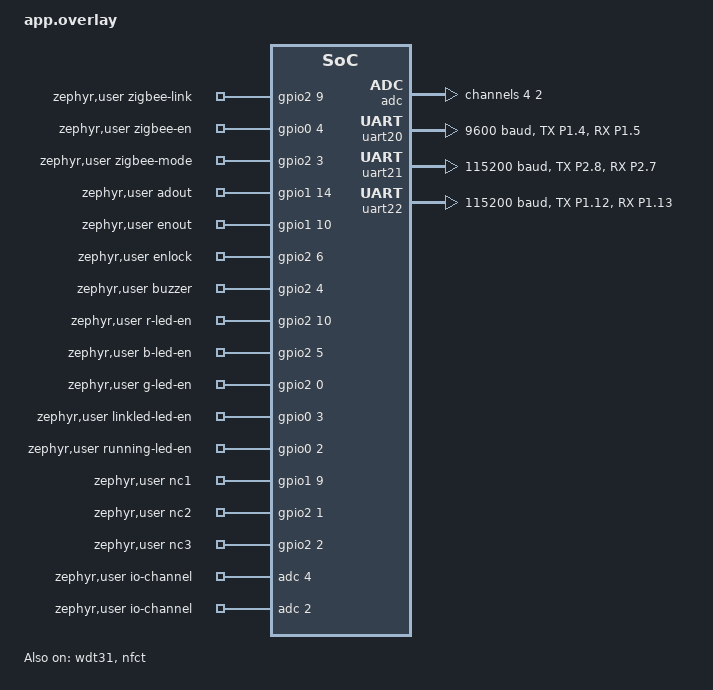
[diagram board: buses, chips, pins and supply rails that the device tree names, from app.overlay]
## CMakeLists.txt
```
cmake_minimum_required(VERSION 3.20.0)
find_package(Zephyr REQUIRED HINTS $ENV{ZEPHYR_BASE})
project(portable_controller)

file(GLOB app_sources src/*.c)
target_sources(app PRIVATE ${app_sources})

set(LFS_IMAGE ${CMAKE_BINARY_DIR}/lfs.bin)
add_custom_command(
    OUTPUT ${LFS_IMAGE}
    COMMAND mklittlefs
    ARGS -c ${CMAKE_SOURCE_DIR}/fs_content
         -b 4096
         -p 16
         -s 0x82000
         ${LFS_IMAGE}
    DEPENDS ${CMAKE_SOURCE_DIR}/fs_content
    COMMENT "Generating LittleFS image (340KB)..."
)
add_custom_target(lfs_image ALL DEPENDS ${LFS_IMAGE})
```

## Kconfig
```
source "Kconfig.zephyr"

config PORTABLE_CONTROLLER_SYSTEM_PM
	bool "Application-provided system PM support"
	default y
	select HAS_PM
```

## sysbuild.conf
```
SB_CONFIG_BOOTLOADER_MCUBOOT=n
# SB_CONFIG_MCUBOOT_MODE_SWAP_USING_MOVE=y
```

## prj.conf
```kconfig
# =====================================================
# 系统与基础
# =====================================================
CONFIG_GPIO=y
CONFIG_SERIAL=y
CONFIG_UART_INTERRUPT_DRIVEN=y
CONFIG_CLOCK_CONTROL=y
CONFIG_CLOCK_CONTROL_NRF=y
CONFIG_PRINTK=y
CONFIG_ISR_STACK_SIZE=4096
CONFIG_FAULT_DUMP=2
CONFIG_REBOOT=y

# =====================================================
# Console / Shell / Logging 后端（RTT）
# =====================================================
CONFIG_CONSOLE=y
CONFIG_RTT_CONSOLE=y
CONFIG_UART_CONSOLE=y
CONFIG_USE_SEGGER_RTT=y
CONFIG_NRFX_POWER=y

CONFIG_SHELL=y
CONFIG_SHELL_BACKEND_SERIAL=n
CONFIG_SHELL_BACKEND_RTT=y
CONFIG_SHELL_BACKEND_RTT_BUFFER=0
CONFIG_FILE_SYSTEM_SHELL=y

CONFIG_LOG=y
CONFIG_LOG_DEFAULT_LEVEL=3
CONFIG_LOG_BACKEND_RTT=y
CONFIG_LOG_BACKEND_RTT_BUFFER=1
CONFIG_LOG_BACKEND_UART=y
CONFIG_LOG_MODE_DEFERRED=y
CONFIG_LOG_MODE_IMMEDIATE=n
CONFIG_LOG_BACKEND_FORMAT_TIMESTAMP=y
CONFIG_LOG_PROCESS_THREAD_STACK_SIZE=4096

# =====================================================
# 文件系统（LittleFS）+ 日志文件系统后端
# =====================================================
CONFIG_FILE_SYSTEM=y
CONFIG_FILE_SYSTEM_LITTLEFS=y
CONFIG_FILE_SYSTEM_MKFS=y
CONFIG_FLASH=y
CONFIG_FLASH_MAP=y
CONFIG_FLASH_PAGE_LAYOUT=y
CONFIG_NRF_RRAM_WRITE_BUFFER_SIZE=8
CONFIG_FS_LITTLEFS_PROG_SIZE=16
CONFIG_FS_LITTLEFS_CACHE_SIZE=64

CONFIG_LOG_BACKEND_FS=y
CONFIG_LOG_BACKEND_FS_AUTOSTART=y
CONFIG_LOG_BACKEND_FS_DIR="/lfs"
CONFIG_LOG_BACKEND_FS_OVERWRITE=y
CONFIG_LOG_BACKEND_FS_FILE_PREFIX="log."
CONFIG_LOG_BACKEND_FS_FILE_SIZE=65536
CONFIG_LOG_BACKEND_FS_FILES_LIMIT=4

# =====================================================
# Settings / NVS（自定义 MAC 持久化用，与 bond 无关）
# =====================================================
CONFIG_NVS=y
CONFIG_SETTINGS=y
CONFIG_SETTINGS_NVS=y
CONFIG_SETTINGS_NVS_SECTOR_COUNT=10

# =====================================================
# Bluetooth 基础
# =====================================================
CONFIG_BT=y
CONFIG_BT_PERIPHERAL=y
CONFIG_BT_DEVICE_NAME="Portable Controller"
CONFIG_BT_DEVICE_APPEARANCE=0

CONFIG_BT_ZEPHYR_NUS=y
CONFIG_BT_ZEPHYR_NUS_DEFAULT_INSTANCE=n
CONFIG_BT_NUS=n

# =====================================================
# Bluetooth 安全：每次配对，禁止绑定
# =====================================================
CONFIG_BT_SMP=n
# CONFIG_BT_BONDABLE                # 关键：禁止绑定
# CONFIG_BT_SMP_SC_PAIR_ONLY
# CONFIG_BT_SETTINGS                # 不再用于 bond（若不想保留可整行删除）
# CONFIG_BT_MAX_PAIRED              # 不绑定用不上

# =====================================================
# GATT
# =====================================================
CONFIG_BT_GATT_DYNAMIC_DB=y

# =====================================================
# MCUboot / OTA / MCUmgr
# =====================================================
CONFIG_BOOTLOADER_MCUBOOT=y
CONFIG_MCUMGR=y
CONFIG_MCUMGR_TRANSPORT_BT=y
CONFIG_MCUMGR_TRANSPORT_BT_PERM_RW=y
CONFIG_MCUMGR_TRANSPORT_BT_REASSEMBLY=y
CONFIG_MCUMGR_GRP_IMG=y
CONFIG_MCUMGR_GRP_OS=y
CONFIG_IMG_MANAGER=y
CONFIG_STREAM_FLASH=y
CONFIG_NET_BUF=y
CONFIG_ZCBOR=y
CONFIG_CRC=y

# =====================================================
# NFC
# =====================================================
CONFIG_NFC_T4T_NRFXLIB=y
CONFIG_NFC_NDEF=y
CONFIG_NFC_NDEF_MSG=y
CONFIG_NFC_NDEF_RECORD=y
CONFIG_NFC_NDEF_URI_REC=y
CONFIG_NFC_NDEF_URI_MSG=y

# =====================================================
# ADC
# =====================================================
CONFIG_ADC=y
CONFIG_ADC_ASYNC=y
CONFIG_POLL=y
CONFIG_ADC_NRFX_SAADC=y

# =====================================================
# DOG
# =====================================================
CONFIG_WATCHDOG=y
CONFIG_WDT_NRFX=y


CONFIG_PM_DEVICE=y
CONFIG_PM_DEVICE_RUNTIME=y
CONFIG_PM_DEVICE_RUNTIME_DEFAULT_ENABLE=y

# System PM uses the CPU's runtime-idle state (WFI); IRQs and timers wake it.
CONFIG_PORTABLE_CONTROLLER_SYSTEM_PM=y
CONFIG_PM=y

# CONFIG_CLOCK_CONTROL_NRF_K32SRC_XTAL=y
# CONFIG_CLOCK_CONTROL_NRF_K32SRC_RC=n

CONFIG_NRF_CPU_LOAD=y
CONFIG_NRF_CPU_LOAD_LOG_PERIODIC=y

CONFIG_POWEROFF=y
CONFIG_IDLE_STACK_SIZE=1024

CONFIG_THREAD_MONITOR=y
CONFIG_THREAD_NAME=y
CONFIG_THREAD_RUNTIME_STATS=y
CONFIG_THREAD_ANALYZER=y
CONFIG_THREAD_ANALYZER_AUTO=y
CONFIG_THREAD_ANALYZER_AUTO_INTERVAL=10
```

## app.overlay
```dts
#include <dt-bindings/pinctrl/nrf-pinctrl.h>
#include <dt-bindings/gpio/gpio.h>

/ {
    chosen {
        zephyr,settings-nvs-partition = &storage_partition;
        zephyr,console = &uart21;
        zephyr,shell-uart = &uart21;
    };

    aliases {
        watchdog0 = &wdt31;
    };
    zephyr,user {
        io-channels = <&adc 4>, <&adc 2>;
        zigbee-link-gpios = <&gpio2 9  GPIO_ACTIVE_HIGH>;
        zigbee-en-gpios = <&gpio0 4 GPIO_ACTIVE_HIGH>;
        zigbee-mode-gpios = <&gpio2 3 GPIO_ACTIVE_HIGH>;

        adout-gpios = <&gpio1 14 GPIO_ACTIVE_HIGH>;

        enout-gpios = <&gpio1 10 GPIO_ACTIVE_HIGH>;
        enlock-gpios = <&gpio2 6 GPIO_ACTIVE_HIGH>;
        buzzer-gpios = <&gpio2 4 GPIO_ACTIVE_HIGH>;
        r-led-en-gpios = <&gpio2 10 GPIO_ACTIVE_HIGH>; // 红灯使能
        b-led-en-gpios = <&gpio2 5 GPIO_ACTIVE_HIGH>;  // 蓝灯使能
        g-led-en-gpios = <&gpio2 0 GPIO_ACTIVE_HIGH>;  // 绿灯使能
        linkled-led-en-gpios = <&gpio0 3 GPIO_ACTIVE_HIGH>;  // link LED
        running-led-en-gpios = <&gpio0 2 GPIO_ACTIVE_HIGH>;  // running LED

        nc1-gpios = <&gpio1 9 GPIO_ACTIVE_HIGH>;
        nc2-gpios = <&gpio2 1 GPIO_ACTIVE_HIGH>;
        nc3-gpios = <&gpio2 2 GPIO_ACTIVE_HIGH>;
    };
};

&wdt31 {
    status = "okay";
};

&adc {
    status = "okay";
    #address-cells = <1>;
    #size-cells = <0>;

    channel@4 {
        reg = <4>;
        zephyr,gain = "ADC_GAIN_1_4";
        zephyr,reference = "ADC_REF_INTERNAL";
        zephyr,acquisition-time = <ADC_ACQ_TIME(ADC_ACQ_TIME_MICROSECONDS, 40)>;
        zephyr,input-positive = <NRF_SAADC_AIN4>;
        zephyr,resolution = <12>;
    };
    channel@2 {
        reg = <2>;
        zephyr,gain = "ADC_GAIN_1_4";
        zephyr,reference = "ADC_REF_INTERNAL";
        zephyr,acquisition-time = <ADC_ACQ_TIME(ADC_ACQ_TIME_MICROSECONDS, 40)>;
        zephyr,input-positive = <NRF_SAADC_AIN2>;
        zephyr,resolution = <12>;
    };
};

&nfct {
    status = "okay";
};

&led2 {
    status = "disabled";
};

/* ================================================================
 * 引脚控制配置 (Pinctrl)
 * ================================================================ */
&pinctrl {
    uart20_default: uart20_default {
        group1 {
            psels = <NRF_PSEL(UART_TX, 1, 4)>,
                    <NRF_PSEL(UART_RX, 1, 5)>;
        };
        /delete-node/ group2;
    };
    uart20_sleep: uart20_sleep {
        group1 {
            psels = <NRF_PSEL(UART_TX, 1, 4)>,
                    <NRF_PSEL(UART_RX, 1, 5)>;
            low-power-enable;
        };
        /delete-node/ group2;
    };

    uart21_default: uart21_default {
        group1 {
            psels = <NRF_PSEL(UART_TX, 2, 8)>,
                    <NRF_PSEL(UART_RX, 2, 7)>;
        };
    };

    uart21_sleep: uart21_sleep {
        group1 {
            psels = <NRF_PSEL(UART_TX, 2, 8)>,
                    <NRF_PSEL(UART_RX, 2, 7)>;
            low-power-enable;
        };
    };

    uart22_default: uart22_default {
        group1 {
            psels = <NRF_PSEL(UART_TX, 1, 12)>,
                    <NRF_PSEL(UART_RX, 1, 13)>;
        };
    };
    uart22_sleep: uart22_sleep {
        group1 {
            psels = <NRF_PSEL(UART_TX, 1, 12)>,
                    <NRF_PSEL(UART_RX, 1, 13)>;
            low-power-enable; // 低功耗：进入休眠时断开引脚输入缓冲
        };
    };
};

&uart20 {
    status = "okay";
    current-speed = <9600>;
    pinctrl-0 = <&uart20_default>;
    pinctrl-1 = <&uart20_sleep>;
    pinctrl-names = "default", "sleep";
};

&uart21 {
    status = "okay";
    current-speed = <115200>;
    pinctrl-0 = <&uart21_default>;
    pinctrl-1 = <&uart21_sleep>;
    pinctrl-names = "default", "sleep";
};

&uart22 {
    status = "okay";
    current-speed = <115200>;
    pinctrl-0 = <&uart22_default>;
    pinctrl-1 = <&uart22_sleep>;
    pinctrl-names = "default", "sleep";
};

/ {
    power-states {
        runtime_idle: runtime_idle {
            compatible = "zephyr,power-state";
            power-state-name = "runtime-idle";
            min-residency-us = <0>;
            exit-latency-us = <0>;
        };
    };
};

&cpuapp {
    cpu-power-states = <&runtime_idle>;
};

/* ================================================================
 * 分区表（保留原样，确保 FLPR 预留）
 * ================================================================ */
/delete-node/ &slot0_partition;
/delete-node/ &slot1_partition;
/delete-node/ &storage_partition;

&cpuapp_rram {
    partitions {
        ranges;
        #address-cells = <1>;
        #size-cells = <1>;

        slot0_partition: partition@10000 {
            compatible = "zephyr,mapped-partition";
            label = "image-0";
            reg = <0x10000 0x63C00>;
        };

        slot1_partition: partition@73C00 {
            compatible = "zephyr,mapped-partition";
            label = "image-1";
            reg = <0x73C00 0x63C00>;
        };

        storage_partition: partition@D7800 {
            compatible = "zephyr,mapped-partition";
            label = "storage";
            reg = <0xD7800 0xB000>;
        };

        littlefs_storage_partition: partition@E2800 {
            compatible = "zephyr,mapped-partition";
            label = "littlefs_storage";
            reg = <0xE2800 0x82000>;
        };
    };
};
```

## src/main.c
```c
#include <zephyr/kernel.h>
#include <zephyr/logging/log.h>
#include "ble_handlers.h"
#include "zigbee_handlers.h"
#include "rs485_handlers.h"
#include <zephyr/fs/fs.h>
#include <zephyr/storage/flash_map.h>
#include <zephyr/device.h>
#include <zephyr/devicetree.h>
#include <zephyr/fs/littlefs.h>
#include <zephyr/logging/log.h>
#include "battery_monitor.h"
#include "message.h"
#include "timer.h"
#include "worker.h"
#include "thread_pool.h"
#include <zephyr/drivers/clock_control/nrf_clock_control.h>
#include <zephyr/sys/notify.h>
#include "battery_scan.h"
#include "proto_config.h"
#include "led_strip.h"
#include "led_control.h"
#include "nfc_handlers.h"
#include "gpio.h"
#include "watchdog.h"

LOG_MODULE_REGISTER(main, LOG_LEVEL_INF);

#define THREAD_STACK_SIZE 2048
#define BT_RX_PRIORITY 5
#define BT_TX_PRIORITY 4
#define ZIGBEE_RX_PRIORITY 5
#define ZIGBEE_TX_PRIORITY 4
#define RS485_RX_PRIORITY  5
#define RS485_TX_PRIORITY  4

#define LED_THREAD_STACK_SIZE  1024
#define LED_THREAD_PRIORITY    7
#define NFC_THREAD_PRIORITY    6    

K_THREAD_STACK_DEFINE(bt_rx_stack, THREAD_STACK_SIZE);
K_THREAD_STACK_DEFINE(bt_tx_stack, THREAD_STACK_SIZE);
K_THREAD_STACK_DEFINE(zigbee_rx_stack, THREAD_STACK_SIZE);
K_THREAD_STACK_DEFINE(zigbee_tx_stack, THREAD_STACK_SIZE);
K_THREAD_STACK_DEFINE(rs485_rx_stack, THREAD_STACK_SIZE);
K_THREAD_STACK_DEFINE(rs485_tx_stack, THREAD_STACK_SIZE);
K_THREAD_STACK_DEFINE(led_stack, LED_THREAD_STACK_SIZE);
K_THREAD_STACK_DEFINE(nfc_stack, THREAD_STACK_SIZE);

static struct k_thread led_thread_data;
static struct k_thread bt_rx_thread_data;
static struct k_thread bt_tx_thread_data;
static struct k_thread zigbee_rx_thread_data;
static struct k_thread zigbee_tx_thread_data;
static struct k_thread rs485_rx_thread_data;
static struct k_thread rs485_tx_thread_data;
static struct k_thread nfc_thread_data;

static protocol_t current_proto = PROTO_NONE;

struct fs_littlefs lfs_data;

struct fs_mount_t mp = {
    .type = FS_LITTLEFS,
    .mnt_point = "/lfs",
    .storage_dev = (void *)PARTITION_ID(littlefs_storage_partition),
    .fs_data = &lfs_data,
    .flags = 0,
};

int mount_log_fs(void)
{
    int rc = fs_mount(&mp);
    if (rc == 0) {
        LOG_INF("LittleFS mounted on /lfs");
        return 0;
    }
    if (rc == -EBUSY) {
        /* 日志后端已提前挂载，属正常 */
        LOG_INF("LittleFS already mounted");
        return 0;
    }

    LOG_WRN("Mount failed (%d), formatting...", rc);
    rc = fs_mkfs(FS_LITTLEFS,
                 (uintptr_t)PARTITION_ID(littlefs_storage_partition),
                 NULL, 0);
    if (rc != 0) {
        LOG_ERR("Format failed (%d)", rc);
        return rc;
    }

    rc = fs_mount(&mp);
    if (rc == 0) {
        LOG_INF("LittleFS mounted after format");
    } else {
        LOG_ERR("Re-mount failed (%d)", rc);
    }
    return rc;
}

static protocol_t decide_protocol(bool ble_enabled, bool zigbee_enabled)
{
    if (ble_enabled) {
        return PROTO_BLE;
    }else {
        if (zigbee_enabled) {
            return PROTO_ZIGBEE;
        }
    }

    return PROTO_NONE;
}

int main(void) {
    int ret;

    ret = mount_log_fs();
    if (ret != 0) {
        LOG_ERR("FS unavailable, logs will NOT persist");
    }else{
        LOG_INF("FS mounted, logs will persist");
    }
    ret = init_gpio();
    if (ret < 0) {
        LOG_ERR("GPIO init failed: %d", ret);
        return  -1;
    }else{
        LOG_INF("GPIO initialized");
    }

    ret = rs485_init();
    if (ret < 0) {
        LOG_ERR("RS485 init failed: %d", ret);
        return  -1;
    }else{
        LOG_INF("RS485 initialized");
    }

    ret = battery_monitor_init();
    if (ret < 0) {
        LOG_ERR("Battery monitor init failed: %d", ret);
    }else{
        LOG_INF("Battery monitor initialized");
    }

    // init Settings for NFC and BLE
    ret = settings_subsys_init();
    if (ret) {
        LOG_ERR("Settings init failed: %d", ret);
    }

    bool ble_enabled, zigbee_enabled;
    proto_config_load(&ble_enabled, &zigbee_enabled);
    LOG_INF("Protocol config: BLE=%d Zigbee=%d", ble_enabled, zigbee_enabled);

    current_proto = decide_protocol(ble_enabled, zigbee_enabled);
    switch (current_proto) {
    case PROTO_BLE:
        LOG_INF("Selected: BLE");
        disable_zigbee();
        ret = ble_init();
        if (ret < 0) {
            LOG_ERR("BLE init failed: %d", ret);
            return -1;
        }
        break;

    case PROTO_ZIGBEE:
        LOG_INF("Selected: Zigbee");
        enable_zigbee();
        ret = zigbee_init();
        if (ret < 0) {
            LOG_ERR("Zigbee init failed: %d", ret);
            return -1;
        }
        break;

    case PROTO_NONE:
    default:
        LOG_ERR("No protocol enabled (ble=%d zigbee=%d)",
                ble_enabled, zigbee_enabled);
        return -1;
    }

    LOG_INF("=== init done, start thread ===");

    worker_t *worker = get_worker();
    if (ble_enabled) {
        k_thread_create(&bt_rx_thread_data, bt_rx_stack,
                        K_THREAD_STACK_SIZEOF(bt_rx_stack),
                        ble_rx_thread_entry, worker, NULL, NULL,
                        BT_RX_PRIORITY, 0, K_NO_WAIT);
        k_thread_name_set(&bt_rx_thread_data, "BT_RX");

        k_thread_create(&bt_tx_thread_data, bt_tx_stack,
                        K_THREAD_STACK_SIZEOF(bt_tx_stack),
                        ble_tx_thread_entry, worker, NULL, NULL,
                        BT_TX_PRIORITY, 0, K_NO_WAIT);
        k_thread_name_set(&bt_tx_thread_data, "BT_TX");
    }else{
        if( zigbee_enabled){
                         k_thread_create(&zigbee_rx_thread_data, zigbee_rx_stack,
                            K_THREAD_STACK_SIZEOF(zigbee_rx_stack),
                            zigbee_rx_thread_entry, worker, NULL, NULL,
                            ZIGBEE_RX_PRIORITY, 0, K_NO_WAIT);
            k_thread_name_set(&zigbee_rx_thread_data, "ZIG_RX");

            k_thread_create(&zigbee_tx_thread_data, zigbee_tx_stack,
                            K_THREAD_STACK_SIZEOF(zigbee_tx_stack),
                            zigbee_tx_thread_entry, worker, NULL, NULL,
                            ZIGBEE_TX_PRIORITY, 0, K_NO_WAIT);
            k_thread_name_set(&zigbee_tx_thread_data, "ZIG_TX");
        }else{
            LOG_ERR("No communication interface available, exiting.");
            return -1;
        }
    }

    k_thread_create(&rs485_rx_thread_data, rs485_rx_stack,
                    K_THREAD_STACK_SIZEOF(rs485_rx_stack),
                    rs485_rx_thread_entry, worker, NULL, NULL,
                    RS485_RX_PRIORITY, 0, K_NO_WAIT);
    k_thread_name_set(&rs485_rx_thread_data, "RS485_RX");

    k_thread_create(&rs485_tx_thread_data, rs485_tx_stack,
                    K_THREAD_STACK_SIZEOF(rs485_tx_stack),
                    rs485_tx_thread_entry, worker, NULL, NULL,
                    RS485_TX_PRIORITY, 0, K_NO_WAIT);
    k_thread_name_set(&rs485_tx_thread_data, "RS485_TX");

    k_thread_create(&led_thread_data, led_stack,
                    K_THREAD_STACK_SIZEOF(led_stack),
                    led_thread_entry, NULL, NULL, NULL,
                    LED_THREAD_PRIORITY, 0, K_NO_WAIT);
    k_thread_name_set(&led_thread_data, "LED_CTL");

    k_thread_create(&nfc_thread_data, nfc_stack,
                    K_THREAD_STACK_SIZEOF(nfc_stack),
                    nfc_thread_entry, worker, NULL, NULL,
                    NFC_THREAD_PRIORITY, 0, K_NO_WAIT);
    k_thread_name_set(&nfc_thread_data, "NFC_TASK");
    LOG_INF("NFC thread created");

    LOG_INF("LED control thread started");
    if (thread_pool_init() != 0) {
        LOG_ERR("thread pool init failed");
        return -1;
    }

    // thread_pool_submit(feeddog_thread, NULL, K_NO_WAIT);
    // thread_pool_submit(rs485_test_thread, NULL, K_NO_WAIT);
    // thread_pool_submit(timer_test_thread,  NULL, K_NO_WAIT);
    // thread_pool_submit(led_test_thread,  NULL, K_NO_WAIT);
    // thread_pool_submit(led_control_test_thread,  NULL, K_NO_WAIT);

    LOG_INF("All threads created");

    battery_scan_timer(ble_enabled, zigbee_enabled);
    LOG_INF("All timers created");

    running_led(LED_OFF);
    link_led(LED_OFF);
    enout_on();
    enlock_on();
    //TODO: set battery state based on GPIO or charger detection
    battery_monitor_set_charge_state(BAT_STATE_DISCHARGING);

    while (1) 
    {
        k_sleep(K_SECONDS(5));
    }

    //unreachable code, but if we ever exit the main thread, clean up the worker
    free_worker(worker);
    return 0;
}
```

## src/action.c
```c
#include "action.h"
#include <string.h>
#include <zephyr/logging/log.h>

LOG_MODULE_REGISTER(action, LOG_LEVEL_INF);


keyConfig_t g_key_config[TOTAL_KEY_NUMBER] = 
{
    {1,   FUNCTION_ID_LIFTING,                  ACTION_J3_K3,    ACTION_NONE},
    {2,   FUNCTION_ID_LOWERING,                 ACTION_J3_K4,    ACTION_NONE},
    {3,   FUNCTION_ID_MOVE,                     ACTION_J1_K6,    ACTION_NONE},
    {4,   FUNCTION_ID_PUSH_RAIL,                ACTION_J1_K5,    ACTION_NONE},

    {5,   FUNCTION_ID_LIFT_BOTTOM,              ACTION_J2_K17,   ACTION_NONE},
    {6,   FUNCTION_ID_SPRAY_FRONT,              ACTION_J2_K18,   ACTION_NONE},
    {7,   FUNCTION_ID_STRETCH_GURAD,            ACTION_J4_K15,   ACTION_NONE},
    {8,   FUNCTION_ID_TAKE_BACK_GURAD,          ACTION_J4_K16,   ACTION_NONE},

    {9,   FUNCTION_ID_STRETCH_SIDE_GURAD,       ACTION_J5_K1,    ACTION_NONE},
    {10,  FUNCTION_ID_TAKE_BACK_SIDE_GURAD,     ACTION_J5_K2,    ACTION_NONE},
    {11,  FUNCTION_ID_STRETCH_FLEXIBLE_BEAM,    ACTION_J7_K11,   ACTION_NONE},
    {12,  FUNCTION_ID_TAKE_BACK_FLEXIBLE_BEAM,  ACTION_J7_K12,   ACTION_NONE},
    {13,  FUNCTION_ID_STERETCH_BACK_RAIL,       ACTION_J8_K23,   ACTION_NONE},
    {14,  FUNCTION_ID_PULL_BACK_RAIL,           ACTION_J8_K24,   ACTION_NONE},
    {15,  FUNCTION_ID_PULL_RAIL,                ACTION_J1_K6,    ACTION_NONE},

    {16,  FUNCTION_ID_STRETCH_FRONT_BEAM,       ACTION_J6_K13,   ACTION_NONE},
    {17,  FUNCTION_ID_TAKE_BACK_FRONT_BEAM,     ACTION_J6_K14,   ACTION_NONE},
    {18,  FUNCTION_ID_UP_BACK_WASHING,          ACTION_J9_K9,    ACTION_NONE},
    {19,  FUNCTION_ID_DOWN_BACK_WASHING,        ACTION_J9_K10,   ACTION_NONE},
};

#define ACTION_MAPPING_COUNT  (sizeof(g_key_config) / sizeof(keyConfig_t))

uint32_t get_channel_offset_by_action_id(uint32_t action_id)
{
    for (uint8_t i = 0; i < ACTION_MAPPING_COUNT; i++)
    {
        if (action_id == g_key_config[i].functionID)
        {
            LOG_INF("Found %d action_id %u, channel:%x", i, action_id, g_key_config[i].sbc1Channel);
            // Assuming you want to return the SBC1 channel offset
            return g_key_config[i].sbc1Channel;
        }
    }
    return 0xFF;
}
```

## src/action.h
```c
#ifndef ACTION_H
#define ACTION_H

#include <stdint.h>
#include <stddef.h>


#define ACTION_NONE                             0x00000000U
#define ACTION_J5_K1                            0x00000001U
#define ACTION_J5_K2                            0x00000002U
#define ACTION_J3_K3                            0x00000004U
#define ACTION_J3_K4                            0x00000008U
#define ACTION_J1_K5                            0x00000010U
#define ACTION_J1_K6                            0x00000020U
#define ACTION_J11_K7                           0x00000040U
#define ACTION_J11_K8                           0x00000080U
#define ACTION_J9_K9                            0x00000100U
#define ACTION_J9_K10                           0x00000200U
#define ACTION_J7_K11                           0x00000400U
#define ACTION_J7_K12                           0x00000800U
#define ACTION_J6_K13                           0x00001000U
#define ACTION_J6_K14                           0x00002000U
#define ACTION_J4_K15                           0x00004000U
#define ACTION_J4_K16                           0x00008000U
#define ACTION_J2_K17                           0x00010000U
#define ACTION_J2_K18                           0x00020000U
#define ACTION_J12_K19                          0x00040000U
#define ACTION_J12_K20                          0x00080000U
#define ACTION_J10_K21                          0x00100000U
#define ACTION_J10_K22                          0x00200000U
#define ACTION_J8_K23                           0x00400000U
#define ACTION_J8_K24                           0x00800000U
#define ACTION_J13_K25                          0x02000000U
#define ACTION_J13_K26                          0x01000000U
#define ACTION_J14_K27                          0x08000000U
#define ACTION_J14_K28                          0x04000000U

#define TOTAL_KEY_NUMBER 41

typedef enum{
    INTERMEDIATE_FRAME = 0,
	TRANSITION_FRAME,
    HEAD_FRAME,
	TAIL_FRAME,
    MACHINE_ADVANCE_FRAME,
	WIND_ADVANCE_FRAME,
    SUPPORT_TYPE_ENUM_END
}ControlerType_t;
typedef struct keyConfig{
	uint8_t keyName;
	uint8_t functionID;
	uint32_t sbc1Channel;
	uint32_t sbc2Channel;
	char actionName[10];
}keyConfig_t;
#pragma pack()

enum FunctionID
{
	FUNCTION_ID_STOP_ACTION = 0xFF,
	FUNCTION_ID_MOVE = 1,
	FUNCTION_ID_PUSH_RAIL,
	FUNCTION_ID_PULL_RAIL,
	FUNCTION_ID_LIFTING,
	FUNCTION_ID_LOWERING,
	FUNCTION_ID_LIFTING_FRONT,
	FUNCTION_ID_LOWERING_FRONT,
	FUNCTION_ID_MIDDLE_FRONT,
	FUNCTION_ID_MIDDLE_BACK,
	FUNCTION_ID_LIFTING_BACK,
	FUNCTION_ID_LOWERING_BACK,
	FUNCTION_ID_STRETCH_SIDE_GURAD,
	FUNCTION_ID_TAKE_BACK_SIDE_GURAD,
	FUNCTION_ID_STRETCH_TOP_BEAM_SIDE_GURAD,
	FUNCTION_ID_TAKE_BACK_TOP_BEAM_SIDE_GURAD,
	FUNCTION_ID_STRETCH_COVER_BEAM_SIDE_GURAD,
	FUNCTION_ID_TAKE_BACK_COVER_BEAM_SIDE_GURAD,
	FUNCTION_ID_STRETCH_INNER_GUARD,
	FUNCTION_ID_TAKE_BACK_INNER_GUARD,
	FUNCTION_ID_STRETCH_OUTTER_GUARD,
	FUNCTION_ID_TAKE_BACK_OUTTER_GUARD,
	FUNCTION_ID_STRETCH_FRONT_BEAM,
	FUNCTION_ID_TAKE_BACK_FRONT_BEAM,
	FUNCTION_ID_STRETCH_FLEXIBLE_BEAM,
	FUNCTION_ID_TAKE_BACK_FLEXIBLE_BEAM,
	FUNCTION_ID_STRETCH_GURAD,
	FUNCTION_ID_TAKE_BACK_GURAD,
	FUNCTION_ID_STRETCH_GURAD_SECONDARY,
	FUNCTION_ID_TAKE_BACK_GURAD_SECONDARY,
	FUNCTION_ID_STRETCH_BALANCE,
	FUNCTION_ID_TAKE_BACK_BALANCE,
	FUNCTION_ID_STRETCH_PLUGBOARD,
	FUNCTION_ID_TAKE_BACK_PLUGBOARD,
	FUNCTION_ID_STRETCH_TAIL_BEAM,
	FUNCTION_ID_TAKE_BACK_TAIL_BEAM,
	FUNCTION_ID_STERETCH_BACK_RAIL,
	FUNCTION_ID_PULL_BACK_RAIL,
	FUNCTION_ID_SPRAY_BACK,
	FUNCTION_ID_LIFT_BOTTOM,
	FUNCTION_ID_SPRAY_FRONT,
	FUNCTION_ID_STRETCH_BOTTOM_ADJUSTMENT,
	FUNCTION_ID_TAKE_BACK_BOTTOM_ADJUSTMENT,
	FUNCTION_ID_STRETCH_TOP_ADJUSTMENT,
	FUNCTION_ID_TAKE_BACK_TOP_ADJUSTMENT,
	FUNCTION_ID_STRETCH_SWINGBEAM,
	FUNCTION_ID_TAKE_BACK_SWINGBEAM,
	FUNCTION_ID_UP_BACK_WASHING,
	FUNCTION_ID_DOWN_BACK_WASHING,
	FUNCTION_ID_KEY_RETURN,
	FUNCTION_ID_KEY_COAL,

	FUNCTION_ID_BEFORE_100_COUNT,

	FUNCTION_ID_LIFTING_MIDDLE_FRONT = 100,
	FUNCTION_ID_LOWERING_MIDDLE_FRONT,
	FUNCTION_ID_LIFTING_MIDDLE_BACK,
	FUNCTION_ID_LOWERING_MIDDLE_BACK,
	FUNCTION_ID_STRETCH_MIDDLE_TOP_ADJUSTMENT,
	FUNCTION_ID_TAKE_BACK_MIDDLE_TOP_ADJUSTMENT,
	FUNCTION_ID_LEFT_PUSH_CLINDER_STRETCH,
	FUNCTION_ID_LEFT_PUSH_CLINDER_TAKE_BACK,
	FUNCTION_ID_RIGHT_PUSH_CLINDER_STRETCH,
	FUNCTION_ID_RIGHT_PUSH_CLINDER_TAKE_BACK,
	FUNCTION_ID_LEFT_FRONT_CLINDER_STRETCH,
	FUNCTION_ID_LEFT_FRONT_CLINDER_TAKE_BACK,
	FUNCTION_ID_LEFT_BACK_CLINDER_STRETCH,
	FUNCTION_ID_LEFT_BACK_CLINDER_TAKE_BACK,
	FUNCTION_ID_RIGHT_FRONT_CLINDER_STRETCH,
	FUNCTION_ID_RIGHT_FRONT_CLINDER_TAKE_BACK,
	FUNCTION_ID_RIGHT_BACK_CLINDER_STRETCH,
	FUNCTION_ID_RIGHT_BACK_CLINDER_TAKE_BACK,
	FUNCTION_ID_FRONT_LEVEL_STRETCH,
	FUNCTION_ID_FRONT_LEVEL_TAKE_BACK,
	FUNCTION_ID_BACK_LEVEL_STRETCH,
	FUNCTION_ID_BACK_LEVEL_TAKE_BACK,
	FUNCTION_ID_LEFT_TENSION_STRETCH,
	FUNCTION_ID_LEFT_TENSION_TAKE_BACK,
	FUNCTION_ID_RIGHT_TENSION_STRETCH,
	FUNCTION_ID_RIGHT_TENSION_TAKE_BACK,
	FUNCTION_ID_STRETCH_ADJUSTMENT_RAIL,
	FUNCTION_ID_TAKE_BACK_ADJUSTMENT_RAIL,
	FUNCTION_ID_STRETCH_INNER_GUARD_FRONT,
	FUNCTION_ID_TAKE_BACK_INNER_GUARD_FRONT,
	FUNCTION_ID_STRETCH_INNER_GUARD_BACK,
	FUNCTION_ID_TAKE_BACK_INNER_GUARD_BACK,
	FUNCTION_ID_STRETCH_OUTTER_GUARD_FRONT,
	FUNCTION_ID_TAKE_BACK_OUTTER_GUARD_FRONT,
	FUNCTION_ID_STRETCH_OUTTER_GUARD_BACK,
	FUNCTION_ID_TAKE_BACK_OUTTER_GUARD_BACK,
	FUNCTION_ID_STRETCH_BOTTOM_ADJUSTMENT_FRONT,
	FUNCTION_ID_TAKE_BACK_BOTTOM_ADJUSTMENT_FRONT,
	FUNCTION_ID_STRETCH_BOTTOM_ADJUSTMENT_MIDDLE,
	FUNCTION_ID_TAKE_BACK_BOTTOM_ADJUSTMENT_MIDDLE,
	FUNCTION_ID_STRETCH_BOTTOM_ADJUSTMENT_BACK,
	FUNCTION_ID_TAKE_BACK_BOTTOM_ADJUSTMENT_BACK,
	FUNCTION_ID_STRETCH_TOP_ADJUSTMENT_FRONT,
	FUNCTION_ID_TAKE_BACK_TOP_ADJUSTMENT_FRONT,
	FUNCTION_ID_STRETCH_TOP_ADJUSTMENT_MIDDLE,
	FUNCTION_ID_TAKE_BACK_TOP_ADJUSTMENT_MIDDLE,
	FUNCTION_ID_STRETCH_TOP_ADJUSTMENT_BACK,
	FUNCTION_ID_TAKE_BACK_TOP_ADJUSTMENT_BACK,
	FUNCTION_ID_FLOAT_STRETCH,
	FUNCTION_ID_FLOAT_TAKE_BACK,
	FUNCTION_ID_STRETCH_FLOAT_LEFT,
	FUNCTION_ID_TAKE_BACK_FLOAT_LEFT,
	FUNCTION_ID_STRETCH_FLOAT_RIGHT,
	FUNCTION_ID_TAKE_BACK_FLOAT_RIGHT,
	FUNCTION_ID_STRETCH_SIDE_MOVE_FRONT,
	FUNCTION_ID_TAKE_BACK_SIDE_MOVE_FRONT,
	FUNCTION_ID_STRETCH_SIDE_MOVE_BACK,
	FUNCTION_ID_TAKE_BACK_SIDE_MOVE_BACK,
	FUNCTION_ID_STRETCH_ROLLER_LEFT,
	FUNCTION_ID_TAKE_BACK_ROLLER_LEFT,
	FUNCTION_ID_STRETCH_ROLLER_RIGHT,
	FUNCTION_ID_TAKE_BACK_ROLLER_RIGHT,
	FUNCTION_ID_STRETCH_FRONT_BEAM2,
	FUNCTION_ID_TAKE_BACK_FRONT_BEAM2,

	FUNCTION_ID_AFTER_100_BEFORE_200_COUNT,

	FUNCTION_ID_SPECIAL_1_STRETCH = 200,
	FUNCTION_ID_SPECIAL_1_TAKE_BACK,
	FUNCTION_ID_SPECIAL_2_STRETCH,
	FUNCTION_ID_SPECIAL_2_TAKE_BACK,
	FUNCTION_ID_SPECIAL_3_STRETCH,
	FUNCTION_ID_SPECIAL_3_TAKE_BACK,
	FUNCTION_ID_SPECIAL_4_STRETCH,
	FUNCTION_ID_SPECIAL_4_TAKE_BACK,
	FUNCTION_ID_STRETCH_GURAD_THIRD,
	FUNCTION_ID_TAKE_BACK_GURAD_THIRD,
	FUNCTION_ID_AFTER_200_COUNT
};

uint32_t get_channel_offset_by_action_id(uint32_t action_id);
#endif
```

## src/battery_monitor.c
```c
#include <zephyr/kernel.h>
#include <zephyr/device.h>
#include <zephyr/drivers/adc.h>
#include <zephyr/logging/log.h>
#include "battery_monitor.h"
#include "led_control.h"

LOG_MODULE_REGISTER(battery_monitor, LOG_LEVEL_INF);

#define ADC_ASYNC_TIMEOUT_MS  100
#define BATTERY_DIV_NUMERATOR   15  
#define BATTERY_DIV_DENOMINATOR 2 

static const struct adc_dt_spec adc_voltage_ch = ADC_DT_SPEC_GET_BY_IDX(DT_PATH(zephyr_user), 0);
static const struct adc_dt_spec adc_current_ch = ADC_DT_SPEC_GET_BY_IDX(DT_PATH(zephyr_user), 1);

static battery_state_t battery_state = BAT_STATE_DISCHARGING;

/* 异步 ADC 的 poll 信号 */
static struct k_poll_signal adc_voltage_signal;
static struct k_poll_signal adc_current_signal;

static __aligned(4) int16_t adc_voltage_raw;
static __aligned(4) int16_t adc_current_raw;

/* ========== 电流换算参数 ==========
 * INA199A2 固定增益 100 V/V
 * Vout = I * R_shunt * Gain + VREF
 * I(mA) = (Vout_mV - VREF_mV) * 1000 / (R_shunt_mΩ * Gain)
 */
#define INA199_GAIN          100
#define R_SHUNT_MILLIOHM     100     /* 0.1Ω = 100mΩ，对应图中的 R40 */
#define VREF_MV              0       /* 单向检测，REF 接地为 0 */

/* ========== 电压-SOC 查找表（升序，单位 mV） ========== */
static const int dp_table[][2] = {
    {3240, 0},   {3500, 5},   {3732, 10},  {3771, 15},
    {3844, 20},  {3889, 30},  {3921, 40},  {3973, 50},
    {4023, 60},  {4046, 70},  {4053, 80},  {4062, 85},
    {4074, 90},  {4099, 95},  {4193, 100}
};
#define DP_TABLE_SIZE (sizeof(dp_table) / sizeof(dp_table[0]))

static const int cp_table[][2] = {
    {3240, 0},   {3718, 5},   {3771, 10},  {3813, 15},
    {3883, 20},  {3913, 30},  {3945, 40},  {4006, 50},
    {4046, 60},  {4059, 70},  {4077, 80},  {4096, 85},
    {4141, 90},  {4182, 95},  {4189, 100}
};
#define CP_TABLE_SIZE (sizeof(cp_table) / sizeof(cp_table[0]))

static int voltage_to_soc(const int table[][2], size_t size, int voltage_mv)
{
    if (voltage_mv >= table[size-1][0])
        return table[size-1][1];
    if (voltage_mv <= table[0][0])
        return table[0][1];

    for (size_t i = 0; i < size - 1; i++) {
        int v_high = table[i+1][0];
        int v_low  = table[i][0];
        int soc_high = table[i+1][1];
        int soc_low  = table[i][1];

        if (voltage_mv <= v_high && voltage_mv >= v_low) {
            return soc_low + (voltage_mv - v_low) * (soc_high - soc_low) / (v_high - v_low);
        }
    }
    return table[size-1][1];
}

static int read_adc_mv_async(const struct adc_dt_spec *ch, 
                             struct k_poll_signal *sig,
                             int16_t *raw_buffer,
                             int *voltage_mv)
{
    if (!adc_is_ready_dt(ch)) {
        LOG_ERR("ADC channel not ready");
        return -ENODEV;
    }

    struct adc_sequence sequence = {
        .buffer = raw_buffer,
        .buffer_size = sizeof(int16_t),
        .channels = BIT(ch->channel_id),
        .resolution = ch->resolution,
    };

    int ret = adc_sequence_init_dt(ch, &sequence);
    if (ret < 0) {
        LOG_ERR("adc_sequence_init_dt failed: %d", ret);
        return ret;
    }

    /* 重置 poll signal，准备接收新的完成事件 */
    k_poll_signal_reset(sig);

    /* 发起异步采样 */
    ret = adc_read_async_dt(ch, &sequence, sig);
    if (ret < 0) {
        LOG_ERR("adc_read_async_dt failed: %d", ret);
        return ret;
    }

    /* 等待转换完成（带超时） */
    struct k_poll_event events[] = {
        K_POLL_EVENT_INITIALIZER(K_POLL_TYPE_SIGNAL,
                                 K_POLL_MODE_NOTIFY_ONLY,
                                 sig),
    };

    ret = k_poll(events, 1, K_MSEC(ADC_ASYNC_TIMEOUT_MS));
    if (ret != 0) {
        LOG_ERR("ADC async poll timeout/error: %d", ret);
        return (ret == -EAGAIN) ? -ETIMEDOUT : ret;
    }

    /* 检查 poll signal 的结果码 */
    unsigned int signaled;
    int result;
    k_poll_signal_check(sig, &signaled, &result);
    if (result != 0) {
        LOG_ERR("ADC conversion error: %d", result);
        return result;
    }

    /* 原始值转 mV */
    int32_t val_mv = *raw_buffer;
    ret = adc_raw_to_millivolts_dt(ch, &val_mv);
    if (ret < 0) {
        LOG_ERR("adc_raw_to_millivolts_dt failed: %d", ret);
        return ret;
    }
    
    LOG_DBG("ADC ch%d raw: %d, voltage: %d mV", ch->channel_id, *raw_buffer, val_mv);
    *voltage_mv = val_mv;
    return 0;
}

int battery_monitor_init(void)
{
    int rc;

    k_poll_signal_init(&adc_voltage_signal);
    k_poll_signal_init(&adc_current_signal);

    if (!adc_is_ready_dt(&adc_voltage_ch) || !adc_is_ready_dt(&adc_current_ch)) {
        LOG_ERR("ADC device not ready");
        return -ENODEV;
    }

    rc = adc_channel_setup_dt(&adc_voltage_ch);
    if (rc != 0) {
        LOG_ERR("Voltage ADC channel setup failed: %d", rc);
        return rc;
    }

    rc = adc_channel_setup_dt(&adc_current_ch);
    if (rc != 0) {
        LOG_ERR("Current ADC channel setup failed: %d", rc);
        return rc;
    }

    LOG_INF("Voltage monitor adc channel initialized");
    return 0;
}

void battery_monitor_set_charge_state(battery_state_t state)
{
    battery_state = state;
    LOG_INF("Battery state: %s", battery_state == BAT_STATE_CHARGING ? "Charging" : "Discharging");
    if (battery_state == BAT_STATE_CHARGING) {
        led_control_blink_alt(255, 0, 0,   0, 0, 255,   250);
    } else if (battery_state == BAT_STATE_FULL) {
        led_control_static(255, 255, 0);
    }
}

int battery_monitor_get_voltage(int *voltage_mv)
{
    int pin_mv;
    int ret = read_adc_mv_async(&adc_voltage_ch, &adc_voltage_signal, 
                                &adc_voltage_raw, &pin_mv);
    if (ret < 0) {
        return ret;
    }
    int32_t battery_voltage = pin_mv * BATTERY_DIV_NUMERATOR / BATTERY_DIV_DENOMINATOR;
    *voltage_mv = battery_voltage;
    
    LOG_DBG("Pin: %d mV -> Battery: %d mV", pin_mv, battery_voltage);
    return 0;
}

int battery_monitor_get_current(int32_t *current_ma)
{
    int voltage_mv;
    int ret = read_adc_mv_async(&adc_current_ch, &adc_current_signal, 
                                &adc_current_raw, &voltage_mv);
    if (ret < 0) {
        return ret;
    }

    int64_t numerator = (int64_t)(voltage_mv - VREF_MV) * 1000;
    int64_t denominator = (int64_t)R_SHUNT_MILLIOHM * INA199_GAIN;

    if (denominator == 0) {
        return -EINVAL;
    }

    *current_ma = (int32_t)(numerator / denominator);
    return 0;
}

int battery_monitor_calc_capacity(int voltage_mv, int *capacity_pct)
{
    int cell_voltage_mv = voltage_mv / 3; 
    const int (*table)[2] = battery_state == BAT_STATE_CHARGING ? cp_table : dp_table;
    size_t size = battery_state == BAT_STATE_CHARGING ? CP_TABLE_SIZE : DP_TABLE_SIZE;

    *capacity_pct = voltage_to_soc(table, size, cell_voltage_mv);
    return 0;

    // const int (*table)[2] = battery_state == BAT_STATE_CHARGING ? cp_table : dp_table;
    // size_t size = battery_state == BAT_STATE_CHARGING ? CP_TABLE_SIZE : DP_TABLE_SIZE;

    // *capacity_pct = voltage_to_soc(table, size, voltage_mv);
    // return 0;
}

int battery_monitor_get_capacity(int *capacity_pct)
{
    int voltage_mv;
    int ret = battery_monitor_get_voltage(&voltage_mv);
    if (ret < 0) {
        return ret;
    }
    return battery_monitor_calc_capacity(voltage_mv, capacity_pct);
}

int battery_monitor_get_level(int *level)
{
    int capacity;
    int ret = battery_monitor_get_capacity(&capacity);
    if (ret < 0) {
        return ret;
    }

    *level = (capacity + 10) / 20;
    if (*level > 5){
     *level = 5;
    }else if (*level < 0) {
        *level = 0;
    }   
    return 0;
}
```

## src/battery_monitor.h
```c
#ifndef BATTERY_MONITOR_H
#define BATTERY_MONITOR_H

#include <stdint.h>

typedef enum {
    BAT_STATE_DISCHARGING,
    BAT_STATE_CHARGING,
    BAT_STATE_FULL,
} battery_state_t;

int battery_monitor_init(void);
void battery_monitor_set_charge_state(battery_state_t state);
int battery_monitor_get_voltage(int *voltage_mv);
int battery_monitor_get_capacity(int *capacity_pct);
int battery_monitor_get_level(int *level);
int battery_monitor_get_current(int32_t *current_ma);
int battery_monitor_get_adout_voltage(int *voltage_mv);
int battery_monitor_calc_capacity(int voltage_mv, int *capacity_pct);
int battery_monitor_get_capacity(int *capacity_pct);
int battery_monitor_get_level(int *level);

#endif
```

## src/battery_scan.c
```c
#include "battery_scan.h"
#include <zephyr/kernel.h>
#include <zephyr/logging/log.h>
#include <string.h>
#include "message.h"
#include "ble_handlers.h"
#include "zigbee_handlers.h"
#include "battery_monitor.h"
#include "gpio.h"

LOG_MODULE_REGISTER(battery_scan, LOG_LEVEL_INF);

battery_info_t g_battery_info = {0};

static struct k_timer scan_battery_timer;
static K_SEM_DEFINE(adc_work_sem, 0, 1);

static struct k_work adc_sample_work;

static bool s_use_ble    = false;
static bool s_use_zigbee = false;

static void battery_scan_timer_handler(struct k_timer *timer)
{
    k_work_submit(&adc_sample_work);
}

static void adc_sample_work_handler(struct k_work *work)
{
    int level = 0;

    int rc = battery_monitor_get_voltage(&g_battery_info.voltage);
    if (rc != 0) {
        LOG_WRN("Battery voltage read failed: %d", rc);
        return;
    }

    battery_monitor_calc_capacity(g_battery_info.voltage, &g_battery_info.capacity);
    
    level = g_battery_info.capacity / 20;
    if (level > 5) level = 5;

    g_battery_info.level = level;
    LOG_INF("Battery: %d mV, %d%%, %d/5 bars", g_battery_info.voltage, g_battery_info.capacity, g_battery_info.level);

    k_msleep(5);

    rc = battery_monitor_get_current(&g_battery_info.current);
    if (rc == 0) {
        LOG_INF("Current: %d mA", g_battery_info.current);
    } else {
        LOG_WRN("Current read failed: %d", rc);
    }

    //TODO if (current < 0) do something to indicate discharging, else charging;
    g_battery_info.adout_voltage = read_gpio_adout();
    if (g_battery_info.adout_voltage >= 0) {
        LOG_INF("ADOUT Voltage: %d V", g_battery_info.adout_voltage);
    } else {
        LOG_WRN("ADOUT Voltage read failed: %d", g_battery_info.adout_voltage);
    }

    // struct k_msgq *tx_msgq = NULL;
    // if (s_use_ble) {
    //     tx_msgq = get_ble_tx_msgq();
    // } else if (s_use_zigbee) {
    //     tx_msgq = get_zigbee_tx_msgq();
    // }
    // if (tx_msgq == NULL) {
    //     LOG_ERR("No TX channel for battery report");
    //     return;
    // }

    // struct tx_msg msg;
    // memset(&msg, 0, sizeof(msg));
    // msg.data[0] = (uint8_t)(g_battery_info.level & 0xFF);
    // msg.len = 1;
    // msg.type = BLE_TX_NUS;
    // if (k_msgq_put(tx_msgq, &msg, K_NO_WAIT) != 0) {
    //     LOG_WRN("Battery Info TX queue full");
    // } else {
    //     LOG_INF("Battery Info reply enqueued");
    // }
}

int battery_scan_timer(bool use_ble, bool use_zigbee)
{
    s_use_ble    = use_ble;
    s_use_zigbee = use_zigbee;
    k_work_init(&adc_sample_work, adc_sample_work_handler);
    k_timer_init(&scan_battery_timer, battery_scan_timer_handler, NULL);
    k_timer_start(&scan_battery_timer, K_SECONDS(5), K_SECONDS(30));

    return 0;
}
```

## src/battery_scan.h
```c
#ifndef BATTERY_SCAN_H
#define BATTERY_SCAN_H

#include <stdbool.h>
#include <zephyr/kernel.h>
#include "battery_monitor.h"

typedef struct {
    int voltage; // in millivolts
    int capacity; // in percentage (0-100)
    int level; // number of bars (0-5)
    int current; // in milliamperes
    int adout_voltage; // in volts
} battery_info_t;

extern battery_info_t g_battery_info;

int battery_scan_timer(bool use_ble,bool use_zigbee);

#endif /* BATTERY_SCAN_H */
```

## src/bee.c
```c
#include "gpio.h"
#include <zephyr/logging/log.h>

LOG_MODULE_REGISTER(buzzer_ctrl, LOG_LEVEL_INF);


void test_buzzer(void)
{
    while (1) {
        LOG_INF("Buzzer: ON");
        buzzer_on();
        k_sleep(K_MSEC(500));

        LOG_INF("Buzzer: OFF");
        buzzer_off();
        k_sleep(K_MSEC(500));
    }
}
```

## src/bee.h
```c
#ifndef BEE_H
#define BEE_H

void test_buzzer(void);

#endif
```

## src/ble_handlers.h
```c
#ifndef BLE_HANDLERS_H_
#define BLE_HANDLERS_H_

#include "message.h"

int ble_init(void);

int ble_send(ble_tx_type_t type, const uint8_t *data, uint16_t len);

void ble_rx_thread_entry(void *p1, void *p2, void *p3);
void ble_tx_thread_entry(void *p1, void *p2, void *p3);

struct k_msgq *get_ble_tx_msgq(void);

#endif
```

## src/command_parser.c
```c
#include "command_parser.h"
#include <string.h>
#include <errno.h>
#include<stdio.h>

#define TX_MSG_MAX_DATA 256

int parse_command(const uint8_t *data, size_t len,
                  uint8_t *reply, size_t *reply_len,
                  uint8_t source) {
    if (!data || len == 0 || !reply || !reply_len) {
        *reply_len = 0;
        return -EINVAL;
    }

    uint8_t cmd = data[0];
    const char *response = NULL;
    char buf[32];

    switch (cmd) {
    case 0x01:
        response = "STATUS:OK";
        break;
    case 0x02:
        if (len >= 2) {
            uint8_t state = data[1];
            snprintf(buf, sizeof(buf), "LED:%s", state ? "ON" : "OFF");
            response = buf;
        } else {
            response = "LED:ERR";
        }
        break;
    case 0x03:
        if (source == CMD_SOURCE_BT) {
            return 1;
        } else {
            response = "ZIG:FORBIDDEN";
        }
        break;
    case 0x04:
        response = "ZIG:READY";
        break;
    default:
        response = "UNKNOWN_CMD";
        break;
    }

    if (response) {
        size_t resp_len = strlen(response);
        if (resp_len < TX_MSG_MAX_DATA) {
            memcpy(reply, response, resp_len);
            *reply_len = resp_len;
            return 0;
        }
    }
    *reply_len = 0;
    return -ENOMEM;
}
```

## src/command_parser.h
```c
#ifndef COMMAND_PARSER_H
#define COMMAND_PARSER_H

#include <stdint.h>
#include <stddef.h>

#define CMD_SOURCE_BT     0
#define CMD_SOURCE_ZIGBEE 1
#define CMD_SOURCE_RS485  2


int parse_command(const uint8_t *data, size_t len,
                  uint8_t *reply, size_t *reply_len,
                  uint8_t source);

#endif
```
